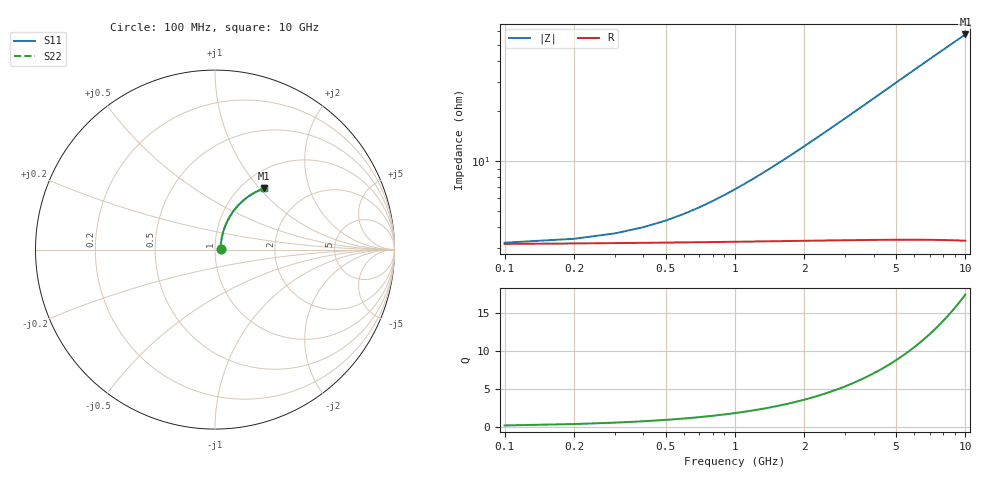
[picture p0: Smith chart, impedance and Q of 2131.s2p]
# Hz S RI R 50.00
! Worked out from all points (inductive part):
!   100 points, 100 MHz to 10 GHz, reference 50 ohm
!   read as one part in series: L = 939 pH near 1.7 GHz
!   highest Q = 17.4 at 10 GHz (marker M1), where L = 915 pH
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1e8  0.0307 0.00478  0.9693 -0.00633  0.9693 -0.00633  0.0307 0.00478
2e8  0.031 0.00955  0.969 -0.0127  0.969 -0.0127  0.031 0.00955
3e8  0.0313 0.0143  0.9687 -0.019  0.9687 -0.019  0.0313 0.0143
4e8  0.0317 0.0191  0.9683 -0.0253  0.9683 -0.0253  0.0317 0.0191
9e8  0.0341 0.0428  0.9658 -0.0568  0.9658 -0.0568  0.0341 0.0428
1.2e9  0.0362 0.0569  0.9636 -0.0755  0.9636 -0.0755  0.0362 0.0569
1.5e9  0.0388 0.0709  0.9609 -0.0942  0.9609 -0.0942  0.0388 0.0709
1.8e9  0.042 0.0847  0.9576 -0.1127  0.9576 -0.1127  0.042 0.0847
2.1e9  0.0457 0.0984  0.9538 -0.131  0.9538 -0.131  0.0457 0.0984
2.5e9  0.0514 0.1163  0.9478 -0.1552  0.9478 -0.1552  0.0514 0.1163
2.9e9  0.0579 0.1338  0.941 -0.179  0.941 -0.179  0.0579 0.1338
3.4e9  0.0673 0.1551  0.9312 -0.2081  0.9312 -0.2081  0.0673 0.1551
3.8e9  0.0757 0.1715  0.9225 -0.2308  0.9225 -0.2308  0.0757 0.1715
4.2e9  0.0848 0.1874  0.9129 -0.2529  0.9129 -0.2529  0.0848 0.1874
4.6e9  0.0947 0.2027  0.9026 -0.2745  0.9026 -0.2745  0.0947 0.2027
5.1e9  0.108 0.221  0.8888 -0.3005  0.8888 -0.3005  0.108 0.221
5.9e9  0.1311 0.2479  0.8645 -0.3401  0.8645 -0.3401  0.1311 0.2479
6.7e9  0.1562 0.2721  0.8382 -0.3769  0.8382 -0.3769  0.1562 0.2721
7.5e9  0.1828 0.2933  0.81 -0.4108  0.81 -0.4108  0.1828 0.2933
8.4e9  0.2143 0.3136  0.7768 -0.4454  0.7768 -0.4454  0.2143 0.3136
9.2e9  0.243 0.3284  0.7462 -0.473  0.7462 -0.473  0.243 0.3284
1e10  0.2722 0.3404  0.715 -0.4978  0.715 -0.4978  0.2722 0.3404
